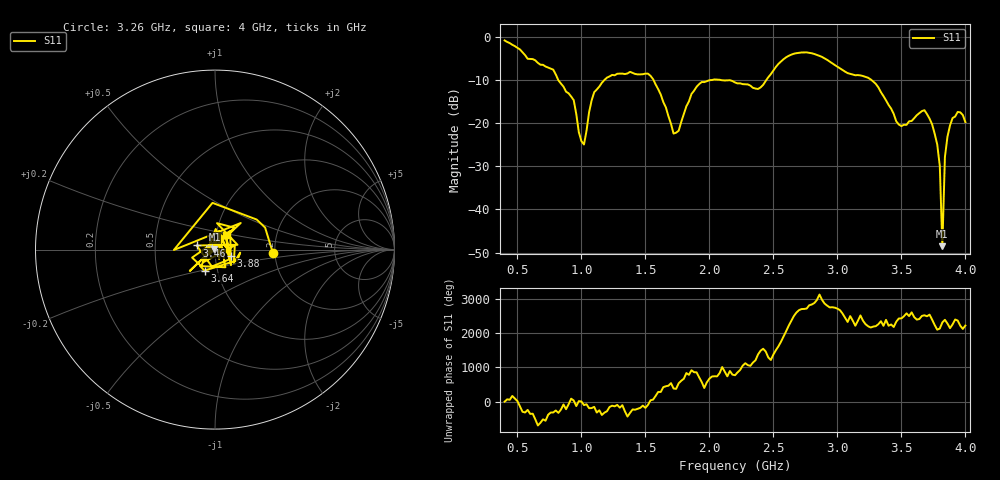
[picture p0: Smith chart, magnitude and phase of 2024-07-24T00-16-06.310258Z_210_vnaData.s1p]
!Created with skrf (http://scikit-rf.org).
# Hz S RI R 50.0
!freq ReS11 ImS11
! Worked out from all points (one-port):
!   181 points, 400 MHz to 4 GHz, reference 50 ohm
!   lowest |S11| = -48.5 dB at 3.82 GHz (marker M1), VSWR 1.01, Z = 49.7 + j0.212 ohm
!   |S11| at or under -10 dB: 819.5 MHz to 1.179 GHz (359.2 MHz wide, 36 % of centre); 1.564 GHz to 2.007 GHz (442.8 MHz wide, 24.8 % of centre); 3.267 GHz to end of sweep (the widest 3 of 4)
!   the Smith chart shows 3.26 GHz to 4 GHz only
!   S11 on the Smith chart (normalised r, x): 3.26 GHz: 1.95, -0.08; 3.46 GHz: 0.81, +0.04; 3.64 GHz: 0.87, -0.21; 3.88 GHz: 1.19, -0.08; 4 GHz: 1.11, +0.19
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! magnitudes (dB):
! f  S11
! 400 MHz  -0.8
! 780 MHz  -7.6
! 860 MHz  -11.5
! 940 MHz  -14.7
! 980 MHz  -22.1
! 1.02 GHz  -24.9
! 1.1 GHz  -12.8
! 1.3 GHz  -8.5
! 1.54 GHz  -9.0
! 1.72 GHz  -22.4
! 1.76 GHz  -21.7
! 1.92 GHz  -10.9
! 2.2 GHz  -10.5
! 2.38 GHz  -12.1
! 2.66 GHz  -3.9
! 3.1 GHz  -8.5
! 3.26 GHz  -9.8
! 3.46 GHz  -19.6
! 3.56 GHz  -19.6
! 3.64 GHz  -17.7
! 3.7 GHz  -17.9
! 3.78 GHz  -24.9
! 3.8 GHz  -29.9
! 3.82 GHz  -48.5
! 3.84 GHz  -27.8
! 3.88 GHz  -20.5
! 3.94 GHz  -17.4
! 4 GHz  -19.8
